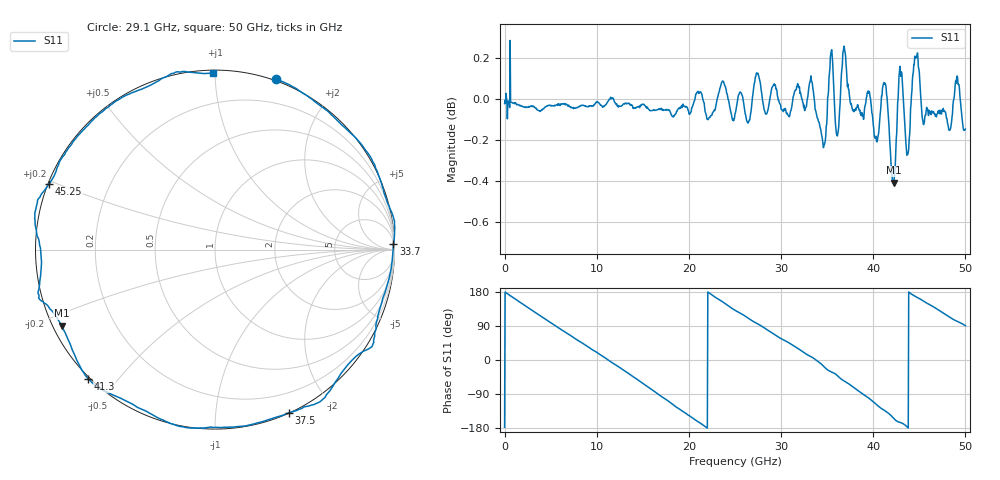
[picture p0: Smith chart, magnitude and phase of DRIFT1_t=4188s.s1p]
!Created with skrf (http://scikit-rf.org).
# Hz S RI R 50.0
!freq ReS11 ImS11
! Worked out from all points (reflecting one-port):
!   1001 points, 300 kHz to 50 GHz, reference 50 ohm
!   lowest |S11| = -0.4 dB at 42.2 GHz (marker M1), VSWR 42.68, Z = 1.24 - j11.7 ohm
!   phase of S11 starts at -177 deg and turns -812 deg over the sweep
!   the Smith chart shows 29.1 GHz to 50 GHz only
!   S11 on the Smith chart (normalised r, x): 29.1 GHz: -0.01, +1.42; 33.7 GHz: 13, +65; 37.5 GHz: 0.00, -1.55; 41.3 GHz: -0.01, -0.42; 45.25 GHz: 0.00, +0.19; 50 GHz: 0.02, +0.99
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300000  -0.9965 -0.0437
1.60029e9  -0.8929 0.4428
3.40028e9  -0.5593 0.8226
6.250262e9  0.1967 0.9777
7.850253e9  0.5934 0.7989
9.550243e9  0.8909 0.4453
1.115023e10  0.9978 0.0272
1.250022e10  0.9354 -0.3422
1.420021e10  0.6648 -0.74
1.580021e10  0.2532 -0.9607
1.73002e10  -0.1871 -0.9761
1.875019e10  -0.5862 -0.8027
2.165017e10  -0.9916 -0.1118
2.350016e10  -0.9209 0.4112
2.500015e10  -0.6532 0.7464
2.725014e10  -0.1419 1.003
2.910013e10  0.3393 0.9483
3.125011e10  0.7716 0.634
3.37001e10  0.9935 0.0293
3.560009e10  0.8584 -0.5517
3.750008e10  0.4113 -0.9098
3.945006e10  -0.1651 -0.9908
4.130005e10  -0.7057 -0.7209
4.220005e10  -0.8547 -0.4242
4.375004e10  -0.9691 -0.029
4.525003e10  -0.9258 0.3641
4.770001e10  -0.5303 0.8397
5e10  -0.0121 0.9832
